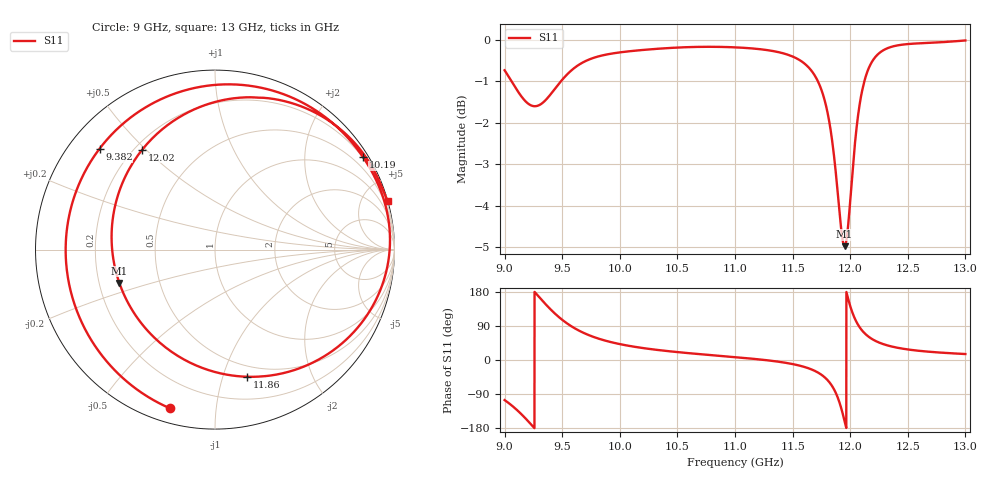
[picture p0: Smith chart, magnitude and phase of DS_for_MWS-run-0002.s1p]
! TOUCHSTONE file generated by CST DESIGN STUDIO
! Date and time: Tue Feb  4 14:34:00 2025
! Project name: C:\Work\MatlabApps\UnitCellOptimizationMatlab\CST\unitcell.cst
! Tree item: Tasks\Sweep1\SPara1\S-Parameters
! Header version: 2024
! Port assignment regex: !\s*Touchstone port\s*([0-9]+)\s*=\s*(CST MWS port|CST DES external port|CST DES block port)\s*(.+)\s* \(\"(.*)\"\)(\s*mode\s*([0-9]+))?.*
! Touchstone port assignment:
! Touchstone port 1 = CST DES external port 1 ("")
# GHz S MA R 50
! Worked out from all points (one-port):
!   4001 points, 9 GHz to 13 GHz, reference 50 ohm
!   lowest |S11| = -5.0 dB at 11.95 GHz (marker M1), VSWR 3.59, Z = 14.3 - j7.78 ohm
!   |S11| at or under -10 dB: nowhere
!   S11 on the Smith chart (normalised r, x): 9 GHz: 0.07, -0.75; 9.382 GHz: 0.09, +0.37; 10.19 GHz: 0.18, +3.48; 11.86 GHz: 0.40, -1.20; 12.02 GHz: 0.23, +0.49; 13 GHz: 0.04, +7.23
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9  0.9194 -105.7
9.106  0.8709 -131.6
9.219  0.8354 -166.4
9.298  0.8343 166.7
9.382  0.8542 138.9
9.5  0.8954 106.1
9.596  0.923 85.9
9.726  0.9463 66.2
10  0.9661 41.9
10.19  0.9724 32.0
10.5  0.9791 20.9
11  0.9797 7.5
11.5  0.9551 -10.7
11.728  0.8864 -34.5
11.798  0.8241 -51.3
11.857  0.7302 -76.0
11.905  0.625 -110.3
11.951  0.5644 -160.8
11.975  0.5847 169.8
12  0.64 142.5
12.018  0.689 126.0
12.049  0.7694 103.7
12.084  0.8395 85.5
12.138  0.9066 66.9
12.196  0.9446 54.2
12.317  0.9765 39.1
12.5  0.9887 27.8
13  0.9986 15.8
